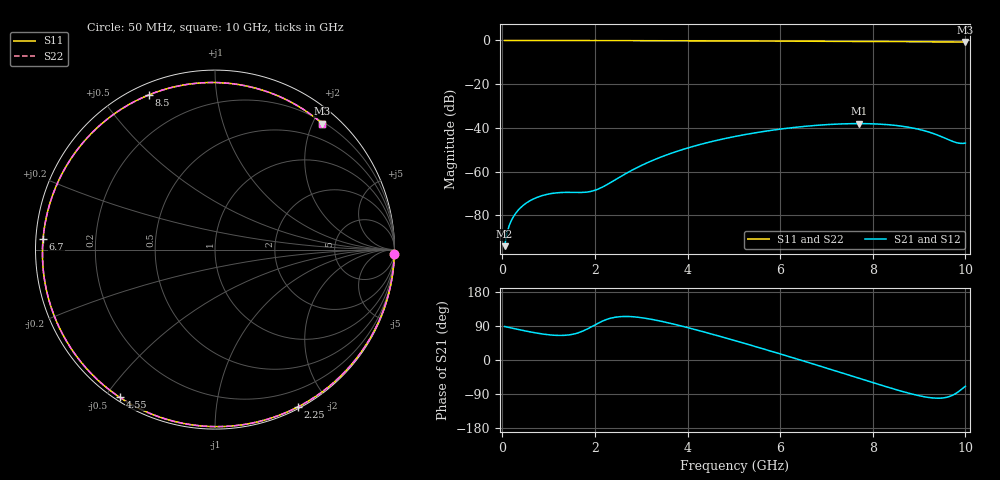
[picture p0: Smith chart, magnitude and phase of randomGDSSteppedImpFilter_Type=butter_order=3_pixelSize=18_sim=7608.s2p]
! freq	dB(S11)	phase(S11)	dB(S12)	phase(S12)
!  dB(S21)	phase(S21)	dB(S22)	phase(S22)
!S-par simulation data
#  GHz  S  DB  R 50
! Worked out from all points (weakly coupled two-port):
!   200 points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, 50 MHz to 10 GHz, reference 50 ohm
!   highest |S21| = -38.03 dB at 7.7 GHz (marker M1); lowest = -94.1 dB at 50 MHz (marker M2)
!   lowest |S11| = -0.7 dB at 10 GHz (marker M3), VSWR 24.56, Z = 11.5 + j107 ohm
!   |S11| at or under -10 dB: nowhere
!   |S22| runs from -0.7 to 0.0 dB; largest |S21 - S12| = 0
!   S11 on the Smith chart (normalised r, x): 50 MHz: 2, -81; 2.25 GHz: 0.02, -1.66; 4.55 GHz: 0.01, -0.55; 6.7 GHz: 0.02, +0.03; 8.5 GHz: 0.05, +0.66; 10 GHz: 0.23, +2.14
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0.05  -0.01 -1.4  -94.08 88.4  -94.08 88.4  -0.00 -1.4
0.25  -0.01 -7.1  -80.26 83.0  -80.26 83.0  -0.01 -7.1
0.5  -0.02 -14.1  -74.63 76.6  -74.63 76.6  -0.02 -14.1
0.85  -0.03 -23.9  -71.03 69.0  -71.03 69.0  -0.03 -23.9
1.2  -0.04 -33.6  -69.65 64.9  -69.65 64.9  -0.04 -33.6
1.75  -0.06 -48.7  -69.48 76.9  -69.48 76.9  -0.06 -48.7
2  -0.07 -55.4  -68.52 92.7  -68.52 92.7  -0.07 -55.4
2.25  -0.08 -62.2  -66.07 107.0  -66.07 107.0  -0.08 -62.2
2.85  -0.10 -78.2  -58.80 113.8  -58.80 113.8  -0.10 -78.1
3.4  -0.12 -92.6  -53.54 103.0  -53.54 103.0  -0.12 -92.6
4.55  -0.18 -122.8  -46.09 67.5  -46.09 67.5  -0.18 -122.8
5.05  -0.21 -136.1  -43.81 50.2  -43.81 50.2  -0.21 -136.1
5.9  -0.28 -159.6  -40.84 19.8  -40.84 19.8  -0.28 -159.6
6.7  -0.36 176.6  -38.97 -10.0  -38.97 -10.0  -0.36 176.6
7.2  -0.41 160.5  -38.28 -28.9  -38.28 -28.9  -0.41 160.5
7.7  -0.47 143.3  -38.03 -48.1  -38.03 -48.1  -0.47 143.3
8.35  -0.55 119.0  -38.57 -72.7  -38.57 -72.7  -0.55 119.0
8.5  -0.56 113.1  -38.88 -78.1  -38.88 -78.1  -0.56 113.1
8.9  -0.61 96.8  -40.20 -91.4  -40.20 -91.4  -0.61 96.8
9.25  -0.64 82.0  -42.16 -99.6  -42.16 -99.6  -0.64 82.0
9.8  -0.69 58.3  -46.68 -87.7  -46.68 -87.7  -0.69 58.3
10  -0.71 49.6  -46.95 -69.2  -46.95 -69.2  -0.71 49.7
